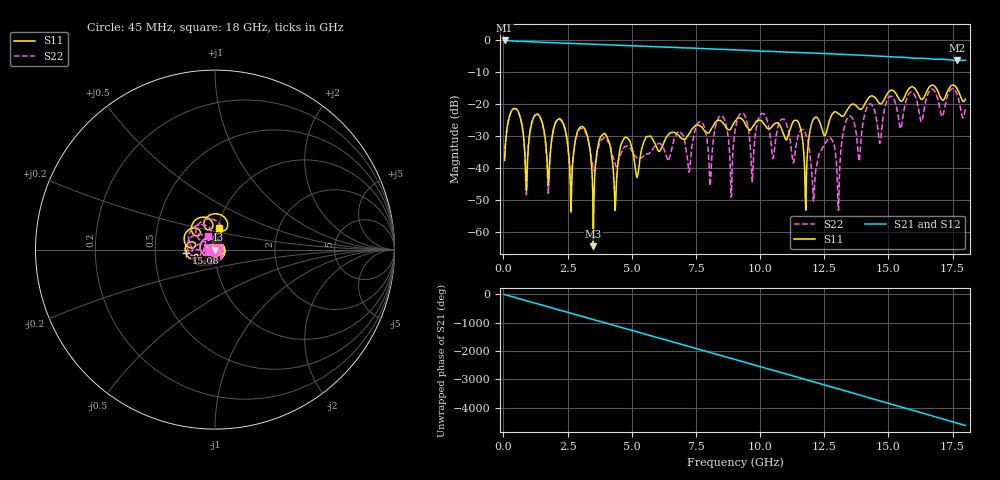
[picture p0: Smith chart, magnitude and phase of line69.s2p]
!Agilent Technologies,E8364A,US41440284,A.06.04.32
!Agilent E8364A: A.06.04.32
!Date: Friday, December 06, 2019 10:54:46
!Correction: S11(Full 2 Port(1,2)) S21(Full 2 Port(1,2)) S12(Full 2 Port(1,2)) S22(Full 2 Port(1,2))
!S2P File: Measurements: S11, S21, S12, S22:
# Hz S  MA  R 50
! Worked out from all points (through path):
!   801 points, 45 MHz to 18 GHz, reference 50 ohm
!   highest |S21| = -0.03 dB at 45 MHz (marker M1); lowest = -6.3 dB at 17.66 GHz (marker M2)
!   group delay of S21, straight-line fit = 713 ps
!   lowest |S11| = -64.5 dB at 3.501 GHz (marker M3), VSWR 1.00, Z = 50 - j0.0389 ohm
!   |S11| at or under -10 dB: start of sweep to end of sweep
!   |S22| runs from -53.2 to -15.1 dB; largest |S21 - S12| = 0.0026
!   S11 on the Smith chart (normalised r, x): 45 MHz: 1.00, -0.03; 15.08 GHz: 0.72, -0.03; 18 GHz: 1.01, +0.24
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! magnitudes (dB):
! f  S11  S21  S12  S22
! 45 MHz  -37.6  0.0  0.0  -36.6
! 471.4 MHz  -21.4  -0.3  -0.3  -21.4
! 897.9 MHz  -47.2  -0.4  -0.4  -48.3
! 1.324 GHz  -23.1  -0.5  -0.5  -23.2
! 1.751 GHz  -45.3  -0.7  -0.7  -47.9
! 2.2 GHz  -24.6  -0.8  -0.8  -24.9
! 2.648 GHz  -48.6  -1.0  -0.9  -43.6
! 3.052 GHz  -27.0  -1.1  -1.1  -27.6
! 3.501 GHz  -64.5  -1.2  -1.2  -40.2
! 3.883 GHz  -29.4  -1.3  -1.3  -30.8
! 4.354 GHz  -53.3  -1.5  -1.5  -38.7
! 4.736 GHz  -30.4  -1.6  -1.6  -33.3
! 6.037 GHz  -34.7  -2.0  -2.0  -32.3
! 8.865 GHz  -27.6  -2.9  -2.9  -49.1
! 9.023 GHz  -25.4  -3.0  -3.0  -28.4
! 11.42 GHz  -25.0  -3.8  -3.8  -31.9
! 11.78 GHz  -53.2  -3.9  -3.9  -29.6
! 12.03 GHz  -25.5  -4.0  -4.0  -43.1
! 15.01 GHz  -16.1  -5.1  -5.1  -17.8
! 15.08 GHz  -15.7  -5.2  -5.2  -17.5
! 17.66 GHz  -14.9  -6.3  -6.3  -16.7
! 18 GHz  -18.5  -6.3  -6.3  -21.4
